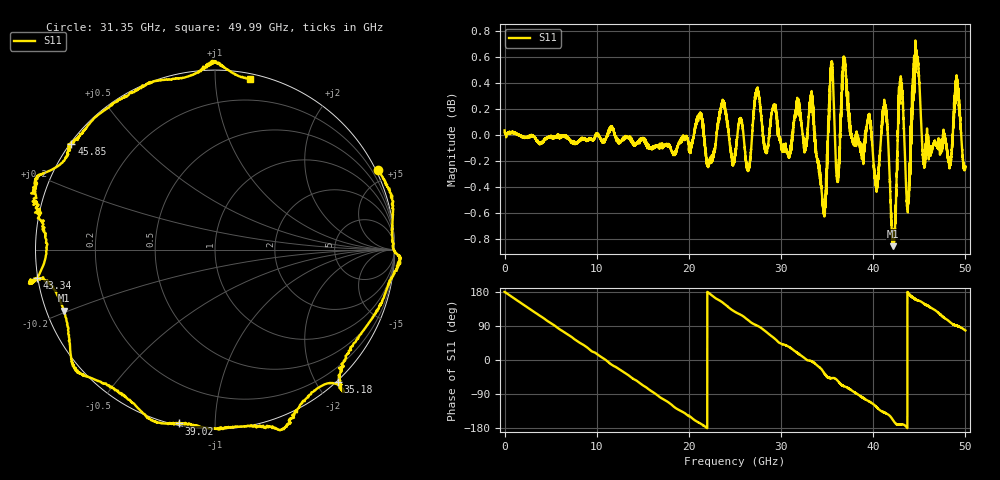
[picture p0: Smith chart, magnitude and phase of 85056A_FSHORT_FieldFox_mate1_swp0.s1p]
!Created with skrf (http://scikit-rf.org).
# Hz S RI R 50.0
!freq ReS11 ImS11
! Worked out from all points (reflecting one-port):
!   10000 points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, 5.3 MHz to 50 GHz, reference 50 ohm
!   lowest |S11| = -0.9 dB at 42.13 GHz (marker M1), VSWR 20.40, Z = 2.54 - j9.69 ohm
!   phase of S11 starts at 180 deg and turns -822 deg over the sweep
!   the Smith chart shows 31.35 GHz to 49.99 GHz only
!   S11 on the Smith chart (normalised r, x): 31.35 GHz: -0.09, +4.32; 35.18 GHz: -0.02, -2.29; 39.02 GHz: 0.01, -0.81; 43.34 GHz: -0.00, -0.08; 45.85 GHz: 0.00, +0.33; 49.99 GHz: 0.04, +1.23
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5299970  -1.004 0.00162
3.32028e9  -0.573 0.816
6.255262e9  0.2274 0.9727
9.460243e9  0.917 0.3881
1.250522e10  0.901 -0.4213
1.573521e10  0.1904 -0.9702
1.875519e10  -0.631 -0.763
2.145017e10  -0.9991 -0.165
2.354016e10  -0.9211 0.454
2.500515e10  -0.5893 0.786
2.757513e10  0.0258 1.037
2.965012e10  0.6684 0.755
3.125511e10  0.8871 0.4672
3.135011e10  0.907 0.4436
3.33451e10  1.022 -0.0711
3.517509e10  0.6828 -0.739
3.574509e10  0.6897 -0.7548
3.750507e10  0.2131 -0.9797
3.902007e10  -0.2027 -0.9686
4.136505e10  -0.7866 -0.6525
4.213005e10  -0.8405 -0.3395
4.334004e10  -0.9913 -0.1582
4.375504e10  -0.9357 0.033
4.468003e10  -1.002 0.3884
4.584502e10  -0.7998 0.5865
4.778001e10  -0.3422 0.937
4.9985e10  0.1995 0.9513
5e10  0.2035 0.9514
